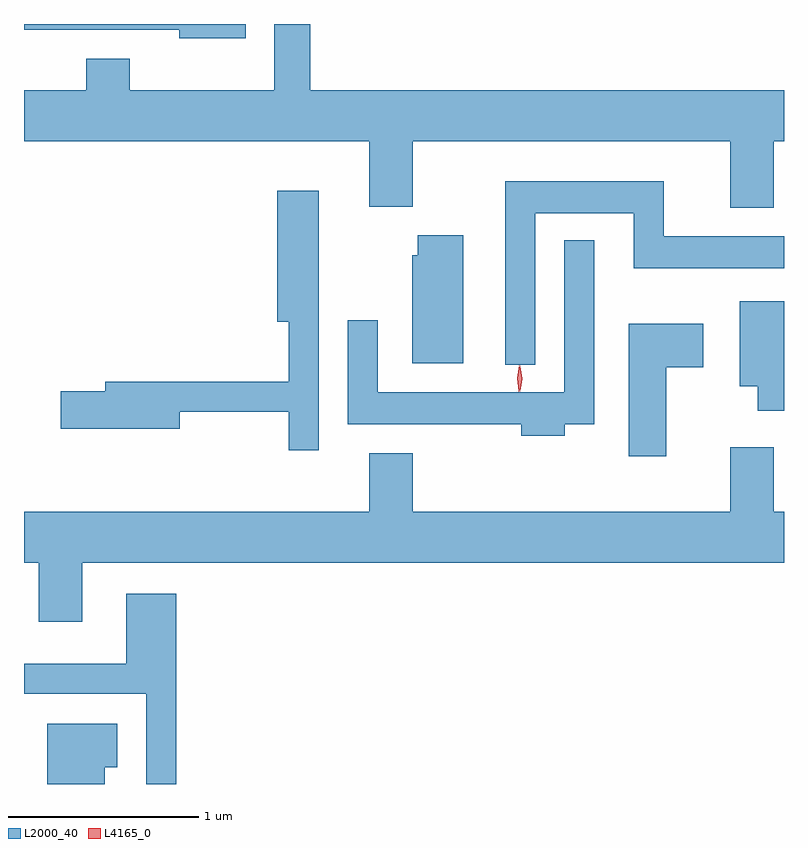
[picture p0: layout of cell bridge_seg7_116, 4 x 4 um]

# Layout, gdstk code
import gdstk
lib = gdstk.Library(unit=1e-6, precision=1e-09)
def P(c, l, *ps):  # polygons
    for p in ps: c.add(gdstk.Polygon(p, *l))
L2000_40 = (2000, 40)
L4165_0 = (4165, 0)

bridge_seg7_116 = lib.new_cell('bridge_seg7_116')
P(bridge_seg7_116, L2000_40, [(1498.479,1763.156),(1498.533,1763.156),(1498.533,1763.424),(1496.039,1763.424),(1496.039,1763.772),(1495.851,1763.772),(1495.851,1763.424),(1495.089,1763.424),(1495.089,1763.589),(1494.861,1763.589),(1494.861,1763.424),(1494.533,1763.424),(1494.533,1763.156),(1496.351,1763.156),(1496.351,1762.811),(1496.579,1762.811),(1496.579,1763.156),(1498.251,1763.156),(1498.251,1762.806),(1498.479,1762.806)],
  [(1495.699,1763.772),(1494.533,1763.772),(1494.533,1763.741),(1495.351,1763.741),(1495.351,1763.696),(1495.699,1763.696)],
  [(1497.224,1762.776),(1497.741,1762.776),(1497.741,1762.486),(1498.533,1762.486),(1498.533,1762.654),(1497.899,1762.654),(1497.899,1762.944),(1497.066,1762.944),(1497.066,1761.978),(1497.224,1761.978)],
  [(1496.084,1762.894),(1495.866,1762.894),(1495.866,1762.206),(1495.926,1762.206),(1495.926,1761.889),(1494.961,1761.889),(1494.961,1761.839),(1494.726,1761.839),(1494.726,1761.641),(1495.354,1761.641),(1495.354,1761.731),(1495.926,1761.731),(1495.926,1761.528),(1496.084,1761.528)],
  [(1496.844,1762.659),(1496.606,1762.659),(1496.606,1762.554),(1496.576,1762.554),(1496.576,1761.986),(1496.844,1761.986)],
  [(1497.379,1761.666),(1497.534,1761.666),(1497.534,1762.633),(1497.376,1762.633),(1497.376,1761.834),(1496.394,1761.834),(1496.394,1762.213),(1496.236,1762.213),(1496.236,1761.666),(1497.151,1761.666),(1497.151,1761.606),(1497.379,1761.606)],
  [(1498.533,1762.314),(1498.301,1762.314),(1498.301,1761.866),(1498.396,1761.866),(1498.396,1761.736),(1498.533,1761.736)],
  [(1497.914,1761.966),(1498.109,1761.966),(1498.109,1762.194),(1497.716,1762.194),(1497.716,1761.496),(1497.914,1761.496)],
  [(1494.839,1760.936),(1498.533,1760.936),(1498.533,1761.204),(1498.479,1761.204),(1498.479,1761.544),(1498.251,1761.544),(1498.251,1761.204),(1496.579,1761.204),(1496.579,1761.514),(1496.351,1761.514),(1496.351,1761.204),(1494.533,1761.204),(1494.533,1760.936),(1494.611,1760.936),(1494.611,1760.626),(1494.839,1760.626)],
  [(1495.334,1760.774),(1495.071,1760.774),(1495.071,1760.404),(1494.533,1760.404),(1494.533,1760.246),(1495.176,1760.246),(1495.176,1759.772),(1495.334,1759.772)],
  [(1494.959,1759.861),(1495.024,1759.861),(1495.024,1760.089),(1494.656,1760.089),(1494.656,1759.772),(1494.959,1759.772)])
P(bridge_seg7_116, L4165_0, [(1497.138,1761.837),(1497.138,1761.838),(1497.129,1761.907),(1497.139,1761.976),(1497.139,1761.976),(1497.14,1761.976),(1497.149,1761.907),(1497.139,1761.838)],
  [(1497.145,1761.839),(1497.144,1761.84),(1497.135,1761.906),(1497.144,1761.972),(1497.145,1761.973),(1497.146,1761.972),(1497.155,1761.906),(1497.146,1761.84)])

lib.write_gds('bridge_seg7_116.gds')
